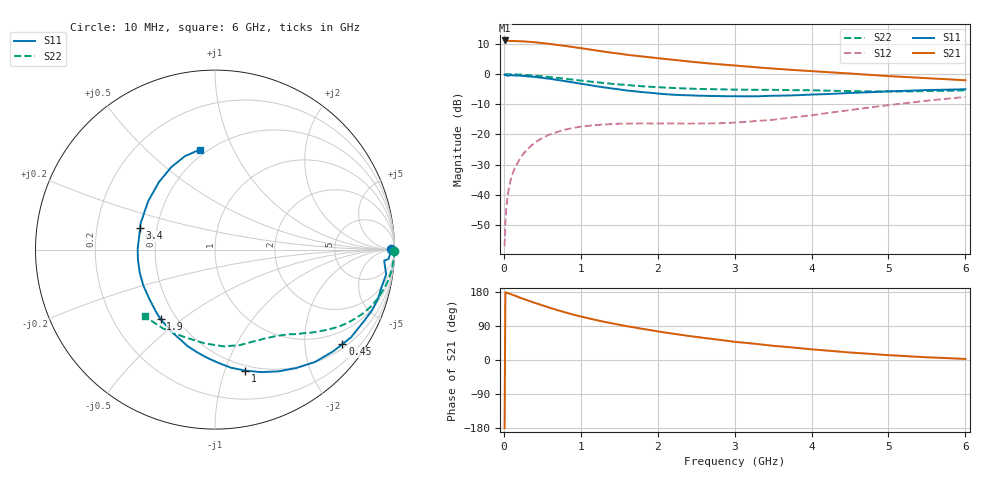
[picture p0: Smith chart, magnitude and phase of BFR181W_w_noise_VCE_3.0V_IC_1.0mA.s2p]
! (c) 2017  Infineon Technologies AG, Munich
! Infineon Technologies  Discrete & RF Semiconductors
! BFR181W
! VCE =  3.0 V,  IC =  1.0 mA
! Common Emitter S-Parameters:  Jan 2017
# GHz  S  MA  R  50
!  f  S11  S21  S12  S22
! GHz  MAG  ANG  MAG  ANG  MAG  ANG  MAG  ANG
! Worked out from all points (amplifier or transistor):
!   77 points, 10 MHz to 6 GHz, reference 50 ohm
!   highest |S21| = 11.2 dB at 10 MHz (marker M1)
!   |S21| within 3 dB of that: start of sweep to 1.117 GHz
!   unconditionally stable (mu >= 1): 2.276 GHz to 4.461 GHz
!   at 130 MHz: K = 0.05, MSG = 21.5 dB, |S12| = -31.9 dB
!   at 2.2 GHz: K = 0.97, MSG = 10.6 dB, |S12| = -16.3 dB
!   at 6 GHz: K = 0.86, MSG = 2.8 dB, |S12| = -7.6 dB
!   lowest NFmin = 0.87 dB at 450 MHz
!   S11 on the Smith chart (normalised r, x): 10 MHz: open; 450 MHz: 0.61, -2.91; 1 GHz: 0.45, -1.18; 1.9 GHz: 0.41, -0.42; 3.4 GHz: 0.40, +0.12; 6 GHz: 0.46, +0.75
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0.01  0.9825 0.1  3.629 -179.5  0.0014 85.3  1 -0.5
0.02  0.969 -3.0  3.628 178.7  0.0035 96.9  0.9931 -0.6
0.04  0.9526 -3.5  3.596 177.4  0.0075 86.8  0.9966 -1.6
0.07  0.9515 -5.6  3.57 175.2  0.0137 84.8  0.9965 -3.0
0.1  0.9636 -8.2  3.558 172.9  0.0198 84.7  0.994 -4.3
0.25  0.9384 -21.0  3.51 161.6  0.0472 76.9  0.9779 -10.6
0.45  0.8836 -36.6  3.333 147.7  0.0798 66.3  0.9353 -18.4
0.6  0.8388 -48.2  3.176 137.7  0.1004 59.5  0.8965 -23.5
0.7  0.8004 -55.5  3.05 131.4  0.1106 55.6  0.8677 -26.5
0.8  0.7654 -62.4  2.944 125.6  0.1205 52.0  0.8388 -29.4
1  0.6952 -75.9  2.705 114.9  0.1346 45.6  0.7841 -34.2
1.1  0.664 -82.3  2.589 110.1  0.1392 43.1  0.7602 -36.2
1.3  0.6043 -94.2  2.373 100.9  0.1463 38.8  0.7145 -40.2
1.5  0.5589 -105.9  2.196 93.0  0.1505 35.8  0.676 -43.6
1.9  0.4927 -127.9  1.907 79.1  0.1521 32.7  0.6182 -50.0
2.1  0.4656 -138.4  1.787 72.5  0.1522 32.9  0.5991 -53.0
2.4  0.4465 -153.6  1.63 63.5  0.1514 34.0  0.577 -58.0
3.1  0.4286 175.6  1.361 46.1  0.1606 42.2  0.5529 -68.9
3.4  0.434 164.0  1.267 39.8  0.1714 46.7  0.55 -73.8
4.1  0.463 141.2  1.103 26.5  0.2169 53.1  0.5368 -86.9
5.1  0.524 115.9  0.916 11.7  0.3171 51.9  0.5158 -112.3
6  0.5631 98.8  0.793 2.8  0.4189 44.0  0.5401 -136.4
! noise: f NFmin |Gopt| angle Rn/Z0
0.45  0.87  0.69  18  0.51
0.9  0.95  0.64  36  0.47
1.9  1.56  0.44  83  0.32
2.4  1.81  0.38  99  0.34
